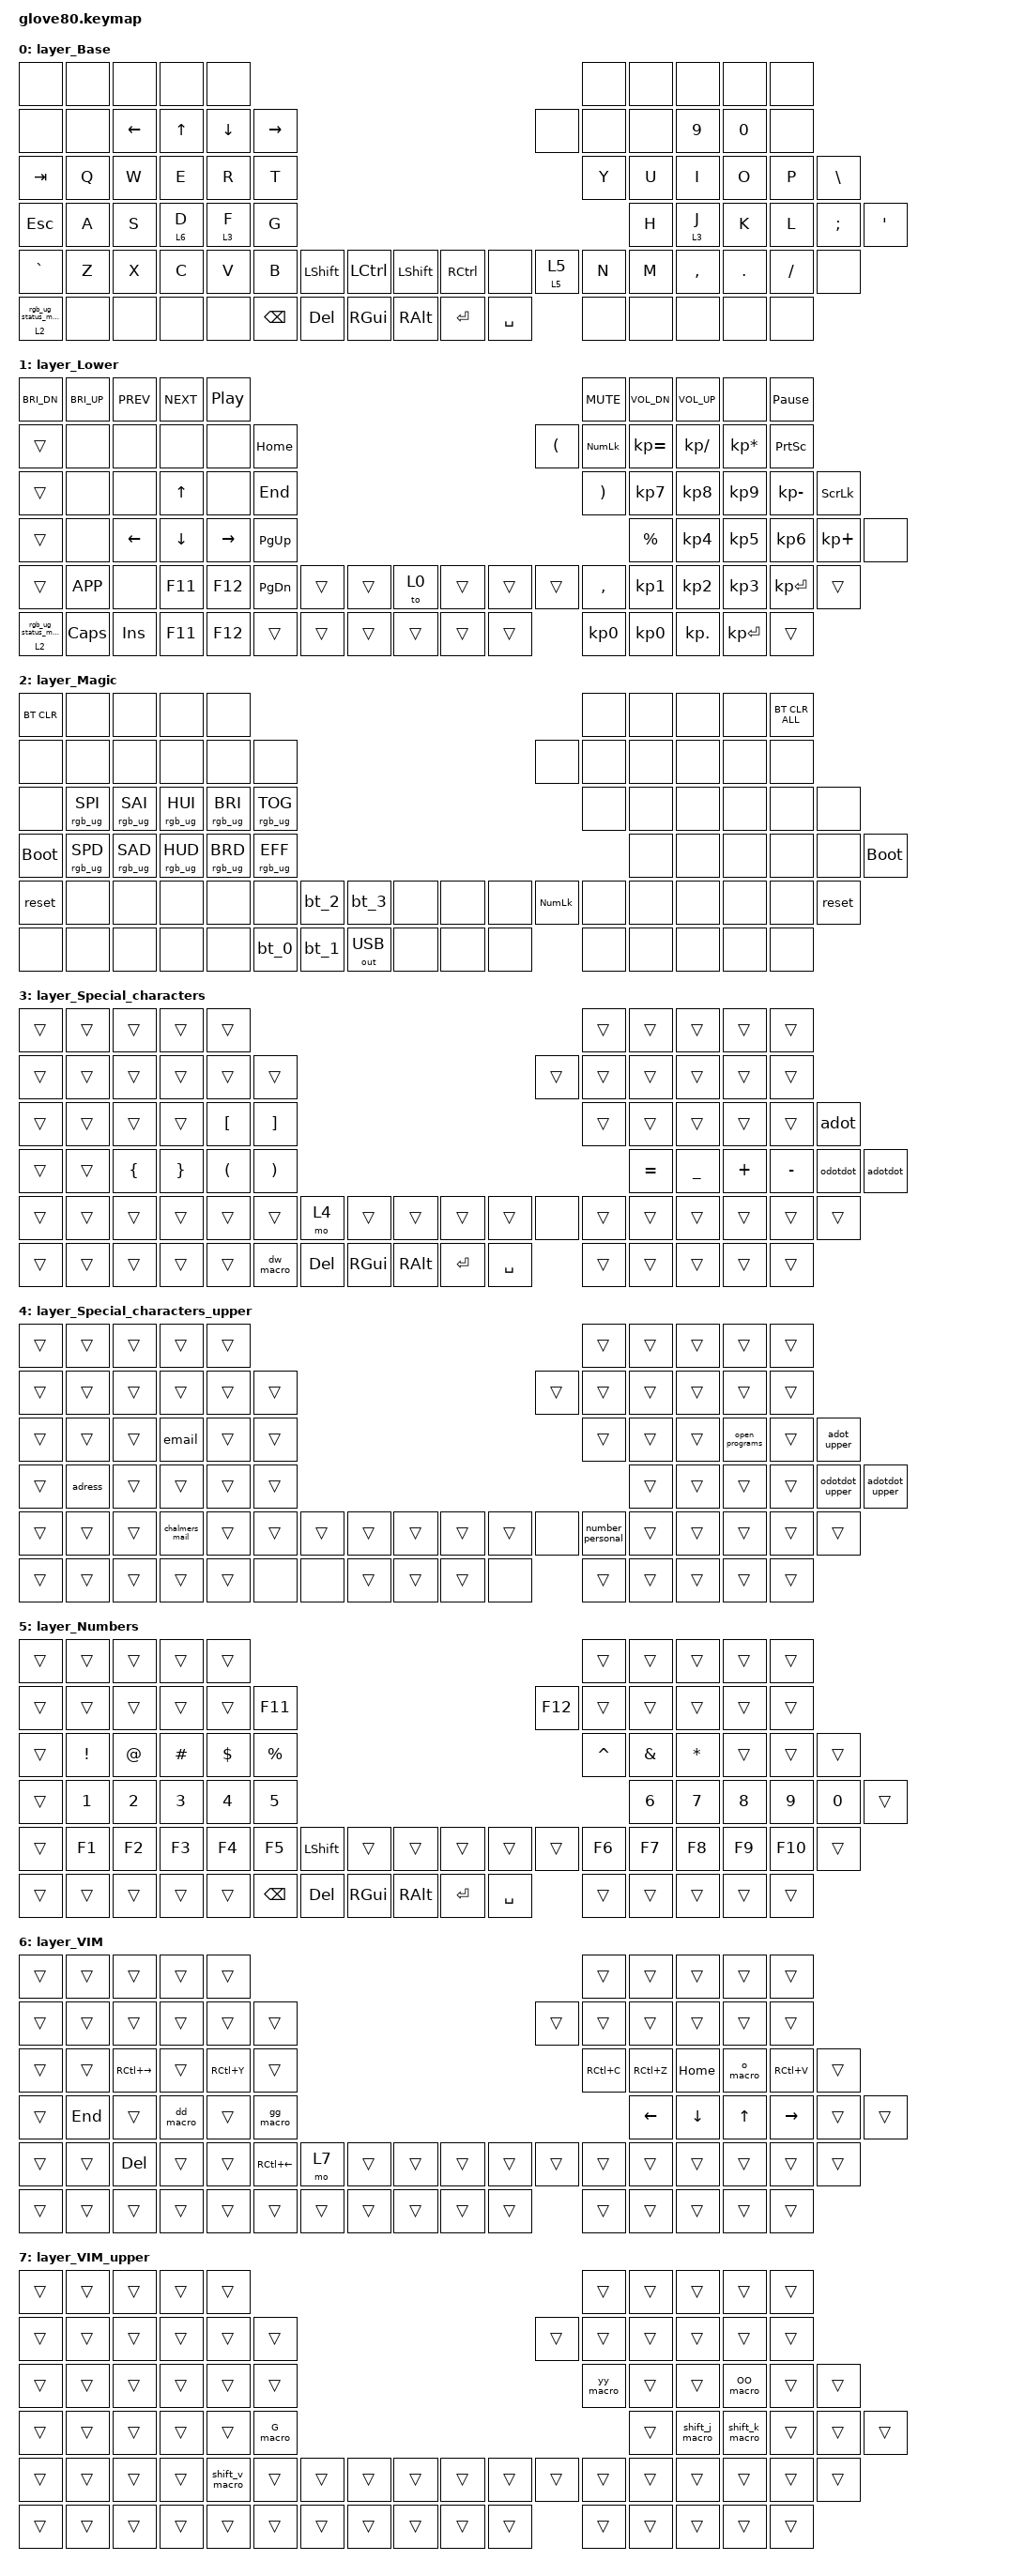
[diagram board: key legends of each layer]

/*
 * Copyright (c) 2020 The ZMK Contributors
 * Copyright (c) 2022 Innaworks Development Limited, trading as MoErgo
 *
 * SPDX-License-Identifier: MIT
 */


/* THIS FILE WAS GENERATED BY GLOVE80 LAYOUT EDITOR
 *
 * This file was generated automatically. You may or may not want to
 * edit it directly. 
 */

#include <behaviors.dtsi>
/* Include all behaviour includes needed by system behaviors/macros */
#include <dt-bindings/zmk/outputs.h>

/* Include behaviour includes needed by key binds - automatically generated */
#include <dt-bindings/zmk/keys.h>
#include <dt-bindings/zmk/bt.h>
#include <dt-bindings/zmk/rgb.h>
#include <dt-bindings/zmk/outputs.h>


/ {
    /* Glove80 system behavior & macros */
    behaviors {
        // For the "layer" key, it'd nice to be able to use it as either a shift or a toggle.
        // Configure it as a tap dance, so the first tap (or hold) is a &mo and the second tap is a &to
        lower: tap_dance_0 {
            compatible = "zmk,behavior-tap-dance";
            label = "LAYER_TAP_DANCE";
            #binding-cells = <0>;
            tapping-term-ms = <200>;
            bindings = <&mo 1>, <&to 1>;
        };
        
        layer_switch_cstm: hold_tap_0 {
            compatible = "zmk,behavior-hold-tap";
            label = "LAYER_SWITCH";
            #binding-cells = <2>;
            flavor = "hold-preferred";
            tapping-term-ms = <800>;
            bindings = <&sl>, <&sl>;
        };
    };
};

/ {
    macros {
        rgb_ug_status_macro: rgb_ug_status_macro_0 {
            label = "RGB_UG_STATUS";
            compatible = "zmk,behavior-macro";
            #binding-cells = <0>;
            bindings
                = <&rgb_ug RGB_STATUS>;
        };

        bt_0: bt_profile_macro_0 {
            label = "BT_0";
            compatible = "zmk,behavior-macro";
            #binding-cells = <0>;
            bindings
                = <&out OUT_BLE>,
                  <&bt BT_SEL 0>;
        };

        bt_1: bt_profile_macro_1 {
            label = "BT_1";
            compatible = "zmk,behavior-macro";
            #binding-cells = <0>;
            bindings
                = <&out OUT_BLE>,
                  <&bt BT_SEL 1>;
        };

        bt_2: bt_profile_macro_2 {
            label = "BT_2";
            compatible = "zmk,behavior-macro";
            #binding-cells = <0>;
            bindings
                = <&out OUT_BLE>,
                  <&bt BT_SEL 2>;
        };
        bt_3: bt_profile_macro_3 {
            label = "BT_3";
            compatible = "zmk,behavior-macro";
            #binding-cells = <0>;
            bindings
                = <&out OUT_BLE>,
                  <&bt BT_SEL 3>;
        };
        
        adotdot: adotdot {
            label = "ADOTDOT";
            compatible = "zmk,behavior-macro";
            #binding-cells = <0>;
            wait-ms = <10>;
            tap-ms = <10>;
            bindings
                = <&macro_press &kp LEFT_GUI>,       // Press Windows key
                <&macro_tap &kp SPACE>,              // Press Space
                <&macro_release &kp LEFT_GUI>,       // Release Windows key
                <&none>,                             // No operation (delay)
                <&none>,                             // No operation (delay)
                <&macro_tap &kp SQT>,                // Press ä (SQT)
                <&macro_press &kp LEFT_GUI>,         // Press Windows key
                <&macro_tap &kp SPACE>,              // Press Space
                <&macro_release &kp LEFT_GUI>;       // Release Windows key
        };
        adot: adot {
            label = "ADOT";
            compatible = "zmk,behavior-macro";
            #binding-cells = <0>;
            wait-ms = <10>;
            tap-ms = <10>;
            bindings
                = <&macro_press &kp LEFT_GUI>,       // Press Windows key
                <&macro_tap &kp SPACE>,              // Press Space
                <&macro_release &kp LEFT_GUI>,       // Release Windows key
                <&none>,                             // No operation (delay)
                <&none>,                             // No operation (delay)
                <&macro_tap &kp LBKT>,               // Press å (LBKT)
                <&macro_press &kp LEFT_GUI>,         // Press Windows key
                <&macro_tap &kp SPACE>,              // Press Space
                <&macro_release &kp LEFT_GUI>;       // Release Windows key
        };
        odotdot: odotdot {
            label = "ODOTDOT";
            compatible = "zmk,behavior-macro";
            #binding-cells = <0>;
            wait-ms = <10>;
            tap-ms = <10>;
            bindings
                = <&macro_press &kp LEFT_GUI>,       // Press Windows key
                <&macro_tap &kp SPACE>,              // Press Space
                <&macro_release &kp LEFT_GUI>,       // Release Windows key
                <&none>,                             // No operation (delay)
                <&none>,                             // No operation (delay)
                <&macro_tap &kp SEMI>,               // Press ö (SEMI)
                <&macro_press &kp LEFT_GUI>,         // Press Windows key
                <&macro_tap &kp SPACE>,              // Press Space
                <&macro_release &kp LEFT_GUI>;       // Release Windows key
        };
        adotdot_upper: adotdot_upper {
            label = "ADOTDOT_UPPER";
            compatible = "zmk,behavior-macro";
            #binding-cells = <0>;
            wait-ms = <10>;
            tap-ms = <10>;
            bindings
                = <&macro_press &kp LEFT_GUI>,       // Press Windows key
                <&macro_tap &kp SPACE>,              // Press Space
                <&macro_release &kp LEFT_GUI>,       // Release Windows key
                <&none>,                             // No operation (delay)
                <&none>,                             // No operation (delay)
                <&macro_press &kp LEFT_SHIFT &kp SQT>, // Press Ä (LEFT_SHIFT + SQT)
                <&macro_release &kp LEFT_SHIFT &kp SQT>,
                <&macro_press &kp LEFT_GUI>,         // Press Windows key
                <&macro_tap &kp SPACE>,              // Press Space
                <&macro_release &kp LEFT_GUI>;       // Release Windows key
        };
        adot_upper: adot_upper {
            label = "ADOT_UPPER";
            compatible = "zmk,behavior-macro";
            #binding-cells = <0>;
            wait-ms = <10>;
            tap-ms = <10>;
            bindings
                = <&macro_press &kp LEFT_GUI>,       // Press Windows key
                <&macro_tap &kp SPACE>,              // Press Space
                <&macro_release &kp LEFT_GUI>,       // Release Windows key
                <&none>,                             // No operation (delay)
                <&none>,                             // No operation (delay)
                <&macro_press &kp LEFT_SHIFT &kp LBKT>, // Press Å (LEFT_SHIFT + LBKT)
                <&macro_release &kp LEFT_SHIFT &kp LBKT>,
                <&macro_press &kp LEFT_GUI>,         // Press Windows key
                <&macro_tap &kp SPACE>,              // Press Space
                <&macro_release &kp LEFT_GUI>;       // Release Windows key
        };
        odotdot_upper: odotdot_upper {
            label = "ODOTDOT_UPPER";
            compatible = "zmk,behavior-macro";
            #binding-cells = <0>;
            wait-ms = <10>;
            tap-ms = <10>;
            bindings
                = <&macro_press &kp LEFT_GUI>,       // Press Windows key
                <&macro_tap &kp SPACE>,              // Press Space
                <&macro_release &kp LEFT_GUI>,       // Release Windows key
                <&none>,                             // No operation (delay)
                <&none>,                             // No operation (delay)
                <&macro_press &kp LEFT_SHIFT &kp SEMI>, // Press Ö (LEFT_SHIFT + SEMI)
                <&macro_release &kp LEFT_SHIFT &kp SEMI>,
                <&macro_press &kp LEFT_GUI>,         // Press Windows key
                <&macro_tap &kp SPACE>,              // Press Space
                <&macro_release &kp LEFT_GUI>;       // Release Windows key
        };

        email: email {
            label = "EMAIL";
            compatible = "zmk,behavior-macro";
            #binding-cells = <0>;
            wait-ms = <10>;
            tap-ms = <10>;
            bindings
                = <&macro_tap &kp J &kp O &kp N &kp A &kp T &kp H &kp A &kp N &kp DOT &kp C &kp A &kp R &kp L &kp S &kp O &kp N &kp KP_N0 &kp KP_N1 &sk LSHFT &kp N2 &kp O &kp U &kp T &kp L &kp O &kp O &kp K &kp DOT &kp C &kp O &kp M>;
        };
        adress: adress {
            label = "ADRESS";
            compatible = "zmk,behavior-macro";
            #binding-cells = <0>;
            wait-ms = <10>;
            tap-ms = <10>;
            bindings
                = <&macro_tap &kp E &kp L &kp E &kp K &kp T &kp R &kp O &kp V &adotdot &kp G &kp E &kp N &kp N4>;
        };
        chalmers_mail: chalmers_mail {
            label = "CHALMERS_MAIL";
            compatible = "zmk,behavior-macro";
            #binding-cells = <0>;
            wait-ms = <10>;
            tap-ms = <10>;
            bindings = <&macro_tap &kp J &kp O &kp N &kp A &kp T &kp C &kp A  &sk LSHFT &kp N2 &kp C &kp H &kp A &kp L &kp M &kp E &kp R &kp S &kp DOT &kp S &kp E>;
        };
        
        number_personal: number_personal {
            label = "NUMBER_PERSONAL";
            compatible = "zmk,behavior-macro";
            #binding-cells = <0>;
            wait-ms = <10>;
            tap-ms = <10>;
            bindings = <&macro_tap &kp N0 &kp N1 &kp N1 &kp N1 &kp N3 &kp N0 &kp MINUS &kp N2 &kp N8 &kp N7 &kp N3>;
        };
        open_spotify: open_spotify {
            label = "OPEN_SPOTIFY";
            compatible = "zmk,behavior-macro";
            #binding-cells = <0>;
            wait-ms = <30>;
            tap-ms = <10>;
            bindings = <&macro_tap &kp RGUI &kp S &kp P &kp O &kp T &kp I &kp F &kp Y &kp RET>;
        };
        open_focus: open_focus {
            label = "OPEN_FOCUS";
            compatible = "zmk,behavior-macro";
            #binding-cells = <0>;
            wait-ms = <30>;
            tap-ms = <10>;
            bindings = <&macro_tap &kp RGUI &kp F &kp O &kp C &kp U &kp S &kp RET>;
        };
        open_anki: open_anki {
            label = "OPEN_ANKI";
            compatible = "zmk,behavior-macro";
            #binding-cells = <0>;
            wait-ms = <30>;
            tap-ms = <10>;
            bindings = <&macro_tap &kp RGUI &kp A &kp N &kp K &kp I &kp RET>;
        };
        open_onenote: open_onenote {
            label = "OPEN_ONENOTE";
            compatible = "zmk,behavior-macro";
            #binding-cells = <0>;
            wait-ms = <30>;
            tap-ms = <10>;
            bindings = <&macro_tap &kp RGUI &kp O &kp N &kp E &kp N &kp O &kp T &kp E &kp RET>;
        };
        open_mail: open_mail {
            label = "OPEN_MAIL";
            compatible = "zmk,behavior-macro";
            #binding-cells = <0>;
            wait-ms = <30>;
            tap-ms = <10>;
            bindings = <&macro_tap &kp RGUI &kp M &kp A &kp I &kp L &kp RET>;
        };
        open_file_explorer: open_file_explorer {
            label = "OPEN_FILE_EXPLORER";
            compatible = "zmk,behavior-macro";
            #binding-cells = <0>;
            wait-ms = <30>;
            tap-ms = <10>;
            bindings = <&macro_tap &kp RGUI &kp F &kp I &kp L &kp E &kp RET>;
        };
        open_programs: open_programs {
            label = "OPEN_PROGRAMS";
            compatible = "zmk,behavior-macro";
            #binding-cells = <0>;
            wait-ms = <1000>;
            tap-ms = <2000>;
            bindings = <&macro_tap &open_spotify &open_focus &open_anki &open_onenote &open_mail &open_file_explorer>;
        };
        
        gg_macro: gg_macro {
            label = "GG_MACRO";
            compatible = "zmk,behavior-macro";
            #binding-cells = <0>;
            wait-ms = <10>;
            tap-ms = <10>;
            bindings = <&macro_tap &kp PG_UP &kp PG_UP>;
        };
        G_macro: G_macro {
            label = "G_MACRO";
            compatible = "zmk,behavior-macro";
            #binding-cells = <0>;
            wait-ms = <10>;
            tap-ms = <10>;
            bindings = <&macro_tap &kp PG_DN &kp PG_DN &kp PG_DN &kp PG_DN &kp PG_DN &kp PG_DN &kp PG_DN>;
        };
        dd_macro: dd_macro {
            label = "DD_MACRO";
            compatible = "zmk,behavior-macro";
            #binding-cells = <0>;
            wait-ms = <20>;
            tap-ms = <10>;
            bindings = <&macro_tap &kp HOME &sk LSHFT &kp END &kp DEL>;
        };
        dw_macro: dw_macro {
            label = "DW_MACRO";
            compatible = "zmk,behavior-macro";
            #binding-cells = <0>;
            wait-ms = <10>;
            tap-ms = <10>;
            bindings = <&macro_tap &sk LCTRL &kp BSPC>;
        };
        o_macro: o_macro {
            label = "O_MACRO";
            compatible = "zmk,behavior-macro";
            #binding-cells = <0>;
            wait-ms = <10>;
            tap-ms = <10>;
            bindings = <&macro_tap &kp END &kp RET>;
        };
        OO_macro: OO_macro {
            label = "OO_MACRO";
            compatible = "zmk,behavior-macro";
            #binding-cells = <0>;
            wait-ms = <10>;
            tap-ms = <10>;
            bindings = <&macro_tap &kp HOME &kp RET &kp UP>;
        };
        yy_macro: yy_macro {
            label = "YY_MACRO";
            compatible = "zmk,behavior-macro";
            #binding-cells = <0>;
            wait-ms = <10>;
            tap-ms = <10>;
            bindings = <&macro_tap &kp HOME &sk LSHFT &kp END &sk LCTRL &kp C>;
        };
        shift_v_macro: shift_v_macro {
            label = "SHIFT_V_MACRO";
            compatible = "zmk,behavior-macro";
            #binding-cells = <0>;
            wait-ms = <10>;
            tap-ms = <10>;
            bindings = <&macro_tap &kp HOME &sk LSHFT &kp END>;
        };
        shift_j_macro: shift_j_macro {
            label = "SHIFT_J_MACRO";
            compatible = "zmk,behavior-macro";
            #binding-cells = <0>;
            wait-ms = <10>;
            tap-ms = <10>;
            bindings = <&macro_tap &kp DOWN &kp DOWN &kp DOWN &kp DOWN &kp DOWN>;
        };
        shift_k_macro: shift_k_macro {
            label = "SHIFT_K_MACRO";
            compatible = "zmk,behavior-macro";
            #binding-cells = <0>;
            wait-ms = <10>;
            tap-ms = <10>;
            bindings = <&macro_tap &kp UP &kp UP &kp UP &kp UP &kp UP>;
        }; 

    };
};

/ {
    magic: magic_hold_tap {
        compatible = "zmk,behavior-hold-tap";
        label = "MAGIC_HOLD_TAP";
        #binding-cells = <2>;
        flavor = "tap-preferred";
        tapping-term-ms = <200>;
        bindings = <&mo>, <&rgb_ug_status_macro>;
    };
};

    /* Custom Defined Behaviors */
/ {
    
} ;

    /* Automatically generated keymap */
/ {
    keymap {
        compatible = "zmk,keymap";


        layer_Base {
            bindings = <
    &none       &none    &none     &none     &none                                                                                    &none      &none     &none     &none   &none
    &none       &none    &kp LEFT_ARROW     &kp UP_ARROW      &kp DOWN_ARROW   &kp RIGHT_ARROW                                                                    &none   &none      &none     &kp N9     &kp N0   &none
    &kp TAB     &kp Q    &kp W     &kp E      &kp R   &kp T                                                                    &kp Y   &kp U      &kp I     &kp O     &kp P   &kp BSLH
    &kp ESC     &kp A    &kp S     &lt 6 D      &lt 3 F   &kp G                                                                    &kp H   &lt 3 J      &kp K     &kp L  &kp SEMI    &kp SQT
  &kp GRAVE     &kp Z    &kp X     &kp C      &kp V   &kp B  &kp LSHFT  &kp LCTRL    &kp LSHFT  &kp RCTRL  &none   &layer_switch_cstm 5 5   &kp N   &kp M  &kp COMMA   &kp DOT  &kp FSLH  &none
 &magic 2 0  &none  &none   &none  &none           &kp BSPC    &kp DEL  &kp RGUI   &kp RALT    &kp RET  &kp SPACE          &none   &none  &none   &none  &none
            >;
        };

        layer_Lower {
            bindings = <
 &kp C_BRI_DN  &kp C_BRI_UP      &kp C_PREV      &kp C_NEXT         &kp C_PP                                                                                    &kp C_MUTE  &kp C_VOL_DN  &kp C_VOL_UP            &none  &kp PAUSE_BREAK
       &trans         &none           &none           &none            &none   &kp HOME                                                   &kp LEFT_PARENTHESIS  &kp KP_NUM  &kp KP_EQUAL  &kp KP_SLASH  &kp KP_MULTIPLY  &kp PRINTSCREEN
       &trans         &none           &none    &kp UP_ARROW            &none    &kp END                                                  &kp RIGHT_PARENTHESIS   &kp KP_N7     &kp KP_N8     &kp KP_N9     &kp KP_MINUS   &kp SCROLLLOCK
       &trans         &none  &kp LEFT_ARROW  &kp DOWN_ARROW  &kp RIGHT_ARROW  &kp PG_UP                                                            &kp PERCENT   &kp KP_N4     &kp KP_N5     &kp KP_N6      &kp KP_PLUS            &none
       &trans     &kp K_APP           &none         &kp F11          &kp F12  &kp PG_DN  &trans  &trans   &to 0  &trans  &trans  &trans              &kp COMMA   &kp KP_N1     &kp KP_N2     &kp KP_N3     &kp KP_ENTER           &trans
   &magic 2 0      &kp CAPS         &kp INS         &kp F11          &kp F12             &trans  &trans  &trans  &trans  &trans  &trans                          &kp KP_N0     &kp KP_N0    &kp KP_DOT     &kp KP_ENTER           &trans
            >;
        };

        layer_Magic {
            bindings = <
  &bt BT_CLR            &none            &none            &none            &none                                                                                  &none   &none   &none   &none  &bt BT_CLR_ALL
       &none            &none            &none            &none            &none            &none                                                         &none   &none   &none   &none   &none           &none
       &none  &rgb_ug RGB_SPI  &rgb_ug RGB_SAI  &rgb_ug RGB_HUI  &rgb_ug RGB_BRI  &rgb_ug RGB_TOG                                                         &none   &none   &none   &none   &none           &none
 &bootloader  &rgb_ug RGB_SPD  &rgb_ug RGB_SAD  &rgb_ug RGB_HUD  &rgb_ug RGB_BRD  &rgb_ug RGB_EFF                                                         &none   &none   &none   &none   &none     &bootloader
      &reset            &none            &none            &none            &none            &none   &bt_2   &bt_3         &none   &none   &none   &kp KP_NUM   &none   &none   &none   &none   &none          &reset
       &none            &none            &none            &none            &none                    &bt_0   &bt_1  &out OUT_USB   &none   &none   &none           &none   &none   &none   &none           &none
            >;
        };

        layer_Special_characters {
            bindings = <
 &trans    &trans    &trans    &trans    &trans                                                                        &trans    &trans     &trans  &trans  &trans
 &trans    &trans    &trans    &trans    &trans    &trans                                                     &trans     &trans    &trans     &trans  &trans  &trans
 &trans    &trans    &trans    &trans    &kp LBKT  &kp RBKT                                                    &trans     &trans    &trans     &trans  &trans  &adot
 &trans    &trans    &kp LBRC &kp RBRC &kp LPAR  &kp RPAR                                                  &kp EQUAL  &kp UNDER  &kp PLUS  &kp MINUS  &odotdot  &adotdot
 &trans    &trans    &trans    &trans    &trans  &trans  &mo 4  &trans  &trans  &trans  &trans   &none     &trans     &trans    &trans     &trans  &trans  &trans
 &trans    &trans    &trans    &trans    &trans       &dw_macro    &kp DEL  &kp RGUI   &kp RALT    &kp RET  &kp SPACE   &trans    &trans     &trans  &trans  &trans
            >;
        };

        layer_Special_characters_upper {
            bindings = <
 &trans    &trans    &trans    &trans    &trans                                                                        &trans    &trans     &trans  &trans  &trans
 &trans    &trans    &trans    &trans    &trans  &trans                                                     &trans     &trans    &trans     &trans  &trans  &trans
 &trans    &trans    &trans    &email    &trans  &trans                                                     &trans     &trans    &trans     &open_programs  &trans  &adot_upper
 &trans    &adress    &trans    &trans    &trans  &trans                                                     &trans     &trans    &trans     &trans  &odotdot_upper  &adotdot_upper
 &trans    &trans    &trans    &chalmers_mail    &trans  &trans     &trans  &trans  &trans  &trans  &trans   &none     &number_personal     &trans    &trans     &trans  &trans  &trans
 &trans    &trans    &trans    &trans    &trans           &none   &none  &trans  &trans  &trans   &none                &trans    &trans     &trans  &trans  &trans
            >;
        };
        layer_Numbers {
            bindings = <
 &trans   &trans   &trans  &trans  &trans                                                                   &trans  &trans  &trans   &trans   &trans
 &trans  &trans  &trans  &trans  &trans  &kp F11                                                      &kp F12   &trans  &trans  &trans   &trans  &trans
 &trans   &kp EXCL   &kp AT  &kp HASH  &kp DLLR  &kp PRCNT                                                   &kp CARET  &kp AMPS  &kp STAR  &trans  &trans  &trans
 &trans   &kp N1   &kp N2  &kp N3  &kp N4  &kp N5                                                       &kp N6  &kp N7  &kp N8  &kp N9   &kp N0   &trans
 &trans   &kp F1   &kp F2  &kp F3  &kp F4  &kp F5  &kp LSHIFT  &trans  &trans  &trans  &trans  &trans      &kp F6  &kp F7  &kp F8  &kp F9   &kp F10   &trans
 &trans   &trans   &trans  &trans  &trans          &kp BSPC    &kp DEL  &kp RGUI   &kp RALT  &kp RET  &kp SPACE              &trans  &trans  &trans   &trans   &trans
            >;
        };
        layer_VIM {
            bindings = <
 &trans   &trans         &trans  &trans     &trans                                                                              &trans    &trans     &trans     &trans  &trans
 &trans   &trans         &trans  &trans     &trans        &trans                                                     &trans     &trans    &trans     &trans     &trans  &trans
 &trans   &trans  &kp RC(RIGHT)  &trans  &kp RC(Y)        &trans                                                  &kp RC(C)  &kp RC(Z)  &kp HOME     &o_macro  &kp RC(V)  &trans
 &trans  &kp END         &trans  &dd_macro     &trans        &gg_macro                                                   &kp LEFT   &kp DOWN    &kp UP  &kp RIGHT     &trans  &trans
 &trans   &trans        &kp DEL  &trans     &trans  &kp RC(LEFT)  &mo 7  &trans  &trans  &trans  &trans  &trans     &trans     &trans    &trans     &trans     &trans  &trans
 &trans   &trans         &trans  &trans     &trans                &trans  &trans  &trans  &trans  &trans  &trans                &trans    &trans     &trans     &trans  &trans
            >;
        };
        layer_VIM_upper {
            bindings = <
 &trans  &trans  &trans  &trans  &trans                                                                  &trans  &trans  &trans  &trans  &trans
 &trans  &trans  &trans  &trans  &trans  &trans                                                  &trans  &trans  &trans  &trans  &trans  &trans
 &trans  &trans  &trans  &trans  &trans  &trans                                                  &yy_macro  &trans  &trans  &OO_macro  &trans  &trans
 &trans  &trans  &trans  &trans  &trans  &G_macro                                                  &trans  &shift_j_macro  &shift_k_macro  &trans  &trans  &trans
 &trans  &trans  &trans  &trans  &shift_v_macro  &trans  &trans  &trans  &trans  &trans  &trans  &trans  &trans  &trans  &trans  &trans  &trans  &trans
 &trans  &trans  &trans  &trans  &trans          &trans  &trans  &trans  &trans  &trans  &trans          &trans  &trans  &trans  &trans  &trans
            >;
        };

    };
};
